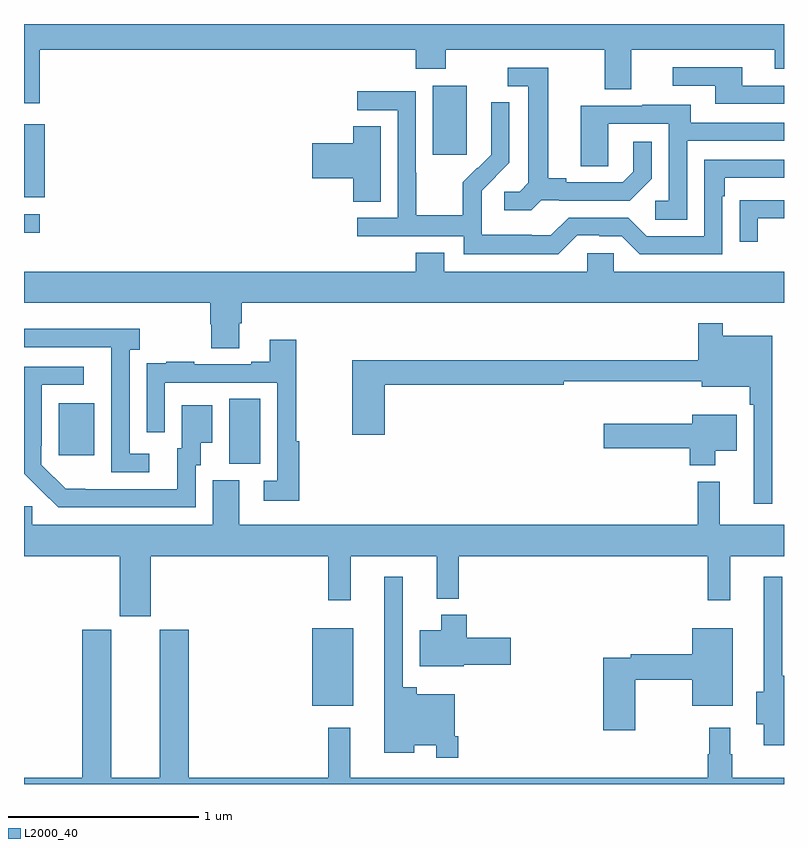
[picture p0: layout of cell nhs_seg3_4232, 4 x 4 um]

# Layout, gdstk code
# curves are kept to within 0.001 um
import gdstk
lib = gdstk.Library(unit=1e-6, precision=1e-09)
def R(c, l, rs):  # rectangles x0, y0, x1, y1
    for r in rs: c.add(gdstk.rectangle(r[:2], r[2:], *l))
def P(c, l, *ps):  # polygons
    for p in ps: c.add(gdstk.Polygon(p, *l))
L2000_40 = (2000, 40)

nhs_seg3_4232 = lib.new_cell('nhs_seg3_4232')
R(nhs_seg3_4232, L2000_40, [(336.518,682.811,336.733,683.221), (336.08,684.085,336.244,684.428), (335.183,684.129,335.371,684.403), (335,685.301,335.083,685.398), (335,685.487,335.11,685.873), (337.151,685.713,337.33,686.074)])
P(nhs_seg3_4232, L2000_40, [(335.084,686.264),(337.061,686.264),(337.061,686.165),(337.221,686.165),(337.221,686.264),(338.057,686.264),(338.057,686.056),(338.197,686.056),(338.197,686.264),(338.951,686.264),(338.951,686.165),(339,686.165),(339,686.4),(335,686.4),(335,685.983),(335.084,685.983)],
  [(339,686.076),(338.779,686.076),(338.779,686.172),(338.415,686.172),(338.415,686.076),(338.639,686.076),(338.639,685.98),(339,685.98)],
  [(337.722,685.473),(337.816,685.473),(337.816,685.47),(338.188,685.47),(338.304,685.586),(338.304,685.78),(338.207,685.78),(338.207,685.623),(338.15,685.566),(337.855,685.566),(337.855,685.589),(337.759,685.589),(337.759,686.169),(337.545,686.169),(337.545,686.073),(337.655,686.073),(337.655,685.565),(337.608,685.518),(337.527,685.518),(337.527,685.421),(337.67,685.421)],
  [(337.911,685.287),(338.027,685.287),(338.027,685.284),(338.145,685.284),(338.241,685.188),(338.676,685.188),(338.676,685.493),(338.689,685.493),(338.689,685.59),(339,685.59),(339,685.686),(338.58,685.686),(338.58,685.284),(338.277,685.284),(338.181,685.38),(337.866,685.38),(337.773,685.287),(337.673,685.287),(337.673,685.291),(337.41,685.291),(337.41,685.425),(337.408,685.425),(337.408,685.522),(337.554,685.67),(337.554,685.988),(337.458,685.988),(337.458,685.834),(337.46,685.834),(337.46,685.712),(337.389,685.641),(337.386,685.644),(337.309,685.567),(337.309,685.393),(337.065,685.393),(337.065,685.616),(337.062,685.616),(337.062,686.046),(336.753,686.046),(336.753,685.947),(336.966,685.947),(336.966,685.38),(336.753,685.38),(336.753,685.284),(337.314,685.284),(337.314,685.187),(337.811,685.187)],
  [(338.49,685.785),(339,685.785),(339,685.881),(338.509,685.881),(338.509,685.975),(338.255,685.975),(338.255,685.971),(337.931,685.971),(337.931,685.651),(338.076,685.651),(338.076,685.875),(338.394,685.875),(338.394,685.47),(338.322,685.47),(338.322,685.369),(338.49,685.369)],
  [(336.877,685.862),(336.734,685.862),(336.734,685.772),(336.516,685.772),(336.516,685.589),(336.734,685.589),(336.734,685.465),(336.877,685.465)],
  [(338.863,685.377),(339,685.377),(339,685.473),(338.869,685.473),(338.869,685.472),(338.767,685.472),(338.767,685.254),(338.863,685.254)],
  [(339,685.096),(338.103,685.096),(338.103,685.194),(337.965,685.194),(337.965,685.096),(337.213,685.096),(337.213,685.195),(337.061,685.195),(337.061,685.096),(335,685.096),(335,684.932),(335.981,684.932),(335.981,684.819),(335.986,684.819),(335.986,684.694),(336.133,684.694),(336.133,684.826),(336.146,684.826),(336.146,684.932),(339,684.932)],
  [(338.938,684.76),(338.677,684.76),(338.677,684.826),(338.548,684.826),(338.548,684.631),(336.728,684.631),(336.728,684.237),(336.899,684.237),(336.899,684.502),(337.841,684.502),(337.841,684.52),(338.567,684.52),(338.567,684.491),(338.821,684.491),(338.821,684.395),(338.841,684.395),(338.841,683.874),(338.938,683.874)],
  [(335.659,684.138),(335.556,684.138),(335.556,684.686),(335.608,684.686),(335.608,684.796),(335,684.796),(335,684.699),(335.459,684.699),(335.459,684.499),(335.46,684.499),(335.46,684.042),(335.659,684.042)],
  [(336.449,684.204),(336.434,684.204),(336.434,684.739),(336.293,684.739),(336.293,684.622),(336.197,684.622),(336.197,684.609),(335.897,684.609),(335.897,684.622),(335.749,684.622),(335.749,684.615),(335.647,684.615),(335.647,684.506),(335.646,684.506),(335.646,684.252),(335.742,684.252),(335.742,684.513),(336.333,684.513),(336.333,683.997),(336.261,683.997),(336.261,683.892),(336.449,683.892)],
  [(335.904,684.078),(335.929,684.078),(335.929,684.197),(335.992,684.197),(335.992,684.394),(335.831,684.394),(335.831,684.168),(335.807,684.168),(335.807,683.952),(335.22,683.953),(335.091,684.081),(335.091,684.181),(335.094,684.181),(335.094,684.501),(335.314,684.501),(335.314,684.597),(335,684.597),(335,684.034),(335.18,683.856),(335.904,683.856)],
  [(338.638,684.155),(338.752,684.155),(338.752,684.343),(338.516,684.343),(338.516,684.295),(338.052,684.295),(338.052,684.166),(338.504,684.166),(338.504,684.077),(338.638,684.077)],
  [(335.668,683.6),(336.601,683.6),(336.601,683.367),(336.719,683.367),(336.719,683.6),(337.172,683.6),(337.172,683.375),(337.289,683.375),(337.289,683.6),(338.599,683.6),(338.599,683.367),(338.717,683.367),(338.717,683.6),(339,683.6),(339,683.764),(338.663,683.764),(338.663,683.992),(338.545,683.992),(338.545,683.764),(336.133,683.764),(336.133,684),(335.993,684),(335.993,683.764),(335.043,683.764),(335.043,683.862),(335,683.862),(335,683.6),(335.504,683.6),(335.504,683.283),(335.668,683.283)],
  [(337.286,682.651),(337.266,682.651),(337.266,682.873),(337.067,682.873),(337.067,682.909),(336.993,682.909),(336.993,683.491),(336.896,683.491),(336.896,682.565),(337.054,682.565),(337.054,682.604),(337.17,682.604),(337.17,682.539),(337.286,682.539)],
  [(339,682.969),(338.991,682.969),(338.991,683.491),(338.894,683.491),(338.894,682.886),(338.855,682.886),(338.855,682.715),(338.894,682.715),(338.894,682.604),(339,682.604)],
  [(337.314,683.027),(337.561,683.027),(337.561,683.169),(337.331,683.169),(337.331,683.29),(337.196,683.29),(337.196,683.209),(337.082,683.209),(337.082,683.021),(337.314,683.021)],
  [(338.218,682.948),(338.516,682.948),(338.516,682.811),(338.731,682.811),(338.731,683.221),(338.516,683.221),(338.516,683.084),(338.194,683.084),(338.194,683.064),(338.048,683.064),(338.048,682.683),(338.218,682.683)],
  [(339,682.432),(338.728,682.432),(338.728,682.556),(338.716,682.556),(338.716,682.696),(338.607,682.696),(338.607,682.556),(338.599,682.556),(338.599,682.432),(336.718,682.432),(336.718,682.696),(336.601,682.696),(336.601,682.432),(335.867,682.432),(335.867,683.211),(335.714,683.211),(335.714,682.432),(335.458,682.432),(335.458,683.211),(335.306,683.211),(335.306,682.432),(335,682.432),(335,682.4),(339,682.4)])

lib.write_gds('nhs_seg3_4232.gds')
